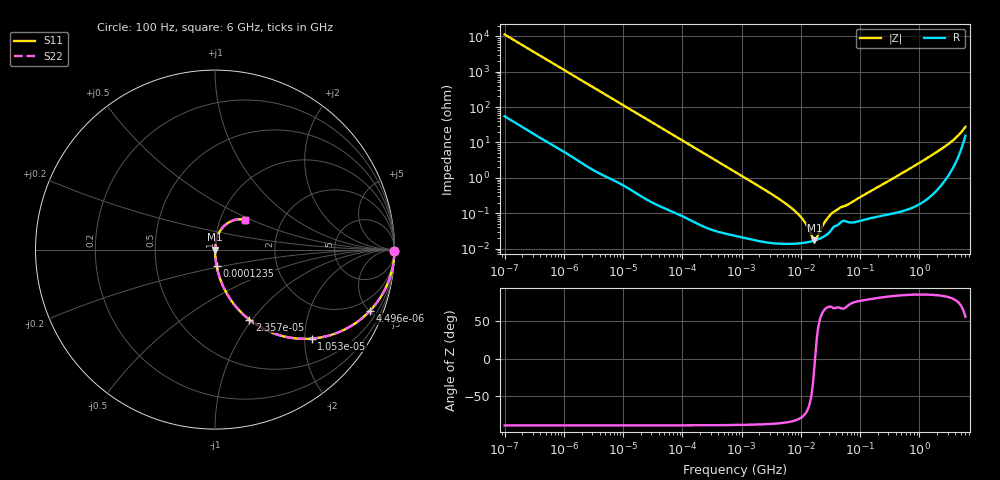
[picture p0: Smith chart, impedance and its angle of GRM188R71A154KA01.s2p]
!Murata Part Number: GRM188R71A154KA01
!These Parameters are Measured in Series Mode Connection
!Data Generated on Mar 30, 2021
!  o--ll--o
!Port1  Port2
!  o------o
!Operation Temp=25[degC], DC Bias Voltage=0[V]
!Freq. Start=100[Hz] Stop=6[GHz] 401[Steps]
# Hz S RI R 50
!Freq.(Hz) S11(Real) S11(Imag) S21(Real) S21(Imag) S12(Real) S12(Imag) S22(Real) S22(Imag)
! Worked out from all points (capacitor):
!   401 points, 100 Hz to 6 GHz, reference 50 ohm
!   read as one part in series: C = 142 nF near 109 Hz
!   lowest |Z| = 17.3 mohm at 17.01 MHz (marker M1)
!   series resonance near 17.38 MHz, so ESL is about 590 pH
!   S11 on the Smith chart (normalised r, x): 100 Hz: open; 4.496 kHz: 1.02, -5.04; 10.53 kHz: 1.01, -2.16; 23.57 kHz: 1.01, -0.97; 123.5 kHz: 1.00, -0.19; 6 GHz: 1.31, +0.46
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100  0.9999 -0.00893  0.000123 0.00893  0.000123 0.00893  0.9999 -0.00893
600  0.9969 -0.053  0.00308 0.053  0.00308 0.053  0.9969 -0.053
2008  0.9687 -0.1719  0.0313 0.1719  0.0313 0.1719  0.9687 -0.1719
4496  0.8627 -0.3417  0.1373 0.3417  0.1373 0.3417  0.8627 -0.3417
6728  0.7387 -0.4367  0.2613 0.4367  0.2613 0.4367  0.7387 -0.4367
10527  0.5379 -0.4958  0.4621 0.4958  0.4621 0.4958  0.5379 -0.4958
23569  0.1908 -0.3902  0.8092 0.3902  0.8092 0.3902  0.1908 -0.3902
40335  0.0754 -0.2612  0.9246 0.2612  0.9246 0.2612  0.0754 -0.2612
123542  0.00922 -0.0919  0.9908 0.0919  0.9908 0.0919  0.00922 -0.0919
774597  0.000454 -0.0149  0.9995 0.0149  0.9995 0.0149  0.000454 -0.0149
3394479  0.000154 -0.0033  0.9998 0.0033  0.9998 0.0033  0.000154 -0.0033
7266822  0.00014 -0.00132  0.9999 0.00132  0.9999 0.00132  0.00014 -0.00132
1.137099e7  0.000148 -0.000585  0.9999 0.000585  0.9999 0.000585  0.000148 -0.000585
1.555665e7  0.000164 -0.000149  0.9998 0.000149  0.9998 0.000149  0.000164 -0.000149
1.701401e7  0.000171 -2.84e-05  0.9998 2.84e-05  0.9998 2.84e-05  0.000171 -2.84e-05
1.86079e7  0.00018 9.16e-05  0.9998 -9.16e-05  0.9998 -9.16e-05  0.00018 9.16e-05
2.662322e7  0.000242 0.000591  0.9998 -0.000591  0.9998 -0.000591  0.000242 0.000591
3.482834e7  0.000394 0.000989  0.9996 -0.000989  0.9996 -0.000989  0.000394 0.000989
3.124326e8  0.00101 0.00835  0.999 -0.00835  0.999 -0.00835  0.00101 0.00835
3.205649e9  0.021 0.091  0.979 -0.091  0.979 -0.091  0.021 0.091
4.586474e9  0.0597 0.1401  0.9403 -0.1401  0.9403 -0.1401  0.0597 0.1401
6e9  0.1667 0.1661  0.8333 -0.1661  0.8333 -0.1661  0.1667 0.1661
